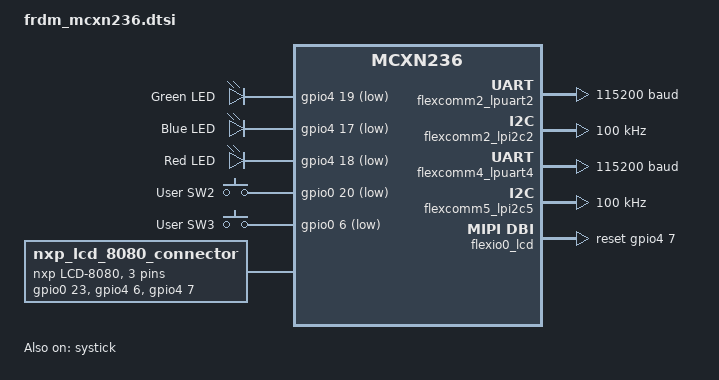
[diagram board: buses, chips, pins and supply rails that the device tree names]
/*
 * Copyright 2024 NXP
 *
 * SPDX-License-Identifier: Apache-2.0
 */

#include "frdm_mcxn236-pinctrl.dtsi"
#include <zephyr/dt-bindings/i2c/i2c.h>
#include <zephyr/dt-bindings/input/input-event-codes.h>

/ {
	aliases{
		led0 = &red_led;
		led1 = &green_led;
		led2 = &blue_led;
		sw0 = &user_button_2;
		sw1 = &user_button_3;
		mcuboot-button0 = &user_button_2;
	};

	leds {
		compatible = "gpio-leds";
		green_led: led_1 {
			gpios = <&gpio4 19 GPIO_ACTIVE_LOW>;
			label = "Green LED";
		};
		blue_led: led_2 {
			gpios = <&gpio4 17 GPIO_ACTIVE_LOW>;
			label = "Blue LED";
		};
		red_led: led_3 {
			gpios = <&gpio4 18 GPIO_ACTIVE_LOW>;
			label = "Red LED";
		};
	};

	gpio_keys {
		compatible = "gpio-keys";
		user_button_2: button_0 {
			label = "User SW2";
			gpios = <&gpio0 20 (GPIO_ACTIVE_LOW | GPIO_PULL_UP)>;
			zephyr,code = <INPUT_KEY_WAKEUP>;
		};
		user_button_3: button_1 {
			label = "User SW3";
			gpios = <&gpio0 6 (GPIO_ACTIVE_LOW | GPIO_PULL_UP)>;
			zephyr,code = <INPUT_KEY_0>;
		};
	};

	/*
	 * This node describes the GPIO pins of the LCD-PAR-S035 panel 8080 interface.
	 */
	nxp_lcd_8080_connector: lcd-8080-connector {
		compatible = "nxp,lcd-8080";
		#gpio-cells = <2>;
		gpio-map-mask = <0xffffffff 0xffffffc0>;
		gpio-map-pass-thru = <0 0x3f>;
		gpio-map =	<9  0 &gpio0 23 0>,	/* Pin 9, LCD touch INT */
				<10  0 &gpio4 6 0>,	/* Pin 10, LCD backlight control */
				<11  0 &gpio4 7 0>;	/* Pin 11, LCD and touch reset */
	};
};

&flexcomm2_lpuart2 {
	current-speed = <115200>;
	pinctrl-0 = <&pinmux_flexcomm2_lpuart>;
	pinctrl-names = "default";
};

&flexcomm2_lpi2c2 {
	pinctrl-0 = <&pinmux_flexcomm2_lpi2c>;
	pinctrl-names = "default";
	clock-frequency = <I2C_BITRATE_STANDARD>;
};

nxp_8080_touch_panel_i2c: &flexcomm2_lpi2c2 {
	pinctrl-0 = <&pinmux_flexcomm2_lpi2c>;
	pinctrl-names = "default";
	clock-frequency = <I2C_BITRATE_STANDARD>;
};

&flexcomm3_lpspi3 {
	pinctrl-0 = <&pinmux_flexcomm3_lpspi>;
	pinctrl-names = "default";
};

&flexcomm4_lpuart4 {
	current-speed = <115200>;
	pinctrl-0 = <&pinmux_flexcomm4_lpuart>;
	pinctrl-names = "default";
};

&flexcomm5_lpi2c5 {
	pinctrl-0 = <&pinmux_flexcomm5_lpi2c>;
	pinctrl-names = "default";
	clock-frequency = <I2C_BITRATE_STANDARD>;
};

/*
 * MCXN236 board uses OS timer as the kernel timer
 * In case we need to switch to SYSTICK timer, then
 * replace &os_timer with &systick
 */
&os_timer {
	status = "disabled";
};

&systick {
	status = "okay";
};

&flash {
	partitions {
		compatible = "fixed-partitions";
		#address-cells = <1>;
		#size-cells = <1>;

		/*
		 * Partition sizes must be aligned
		 * to the flash memory sector size of 8KB.
		 */
		boot_partition: partition@0 {
			label = "mcuboot";
			reg = <0x00000000 DT_SIZE_K(80)>;
		};
		/* For the MCUBoot "upgrade only" method,
		 * the slot sizes must be equal.
		 */
		slot0_partition: partition@14000 {
			label = "image-0";
			reg = <0x00014000 DT_SIZE_K(440)>;
		};
		slot1_partition: partition@84000 {
			label = "image-1";
			reg = <0x0084000 DT_SIZE_K(440)>;
		};
		storage_partition: partition@F0000 {
			label = "storage";
			reg = <0x000F0000 DT_SIZE_K(64)>;
		};
	};
};

&flexpwm1_pwm0 {
	pinctrl-0 = <&pinmux_flexpwm1_pwm0>;
	pinctrl-names = "default";
};

&lpadc0 {
	pinctrl-0 = <&pinmux_lpadc0>;
	pinctrl-names = "default";
};

&lpcmp0 {
	pinctrl-0 = <&pinmux_lpcmp0>;
	pinctrl-names = "default";
};

&flexcan1 {
	pinctrl-0 = <&pinmux_flexcan1>;
	pinctrl-names = "default";
};

zephyr_mipi_dbi_parallel: &flexio0_lcd {
	/* DMA channels 0, muxed to FlexIO TX */
	dmas = <&edma0 0 61>;
	dma-names = "tx";
	shifters-count = <8>;
	timers-count = <1>;
	enwr-pin = <28>;
	rd-pin = <27>;
	data-pin-start = <4>;
	reset-gpios = <&gpio4 7 GPIO_ACTIVE_HIGH>;
	cs-gpios = <&gpio4 14 GPIO_ACTIVE_HIGH>;
	rs-gpios = <&gpio0 24 GPIO_ACTIVE_HIGH>;
	pinctrl-0 = <&pinmux_flexio_lcd>;
	pinctrl-names = "default";
};

&i3c1 {
	pinctrl-0 = <&pinmux_i3c1>;
	pinctrl-names = "default";
};

p3t1755dp_ard_i3c_interface: &i3c1 {};
p3t1755dp_ard_i2c_interface: &flexcomm5_lpi2c5 {};
